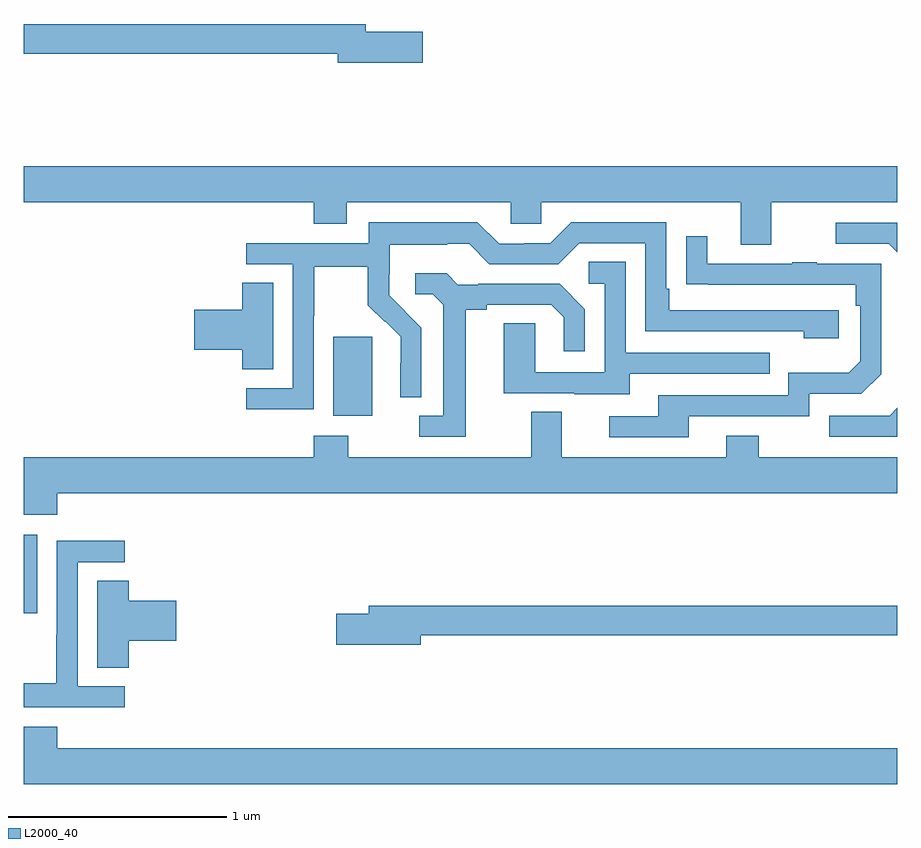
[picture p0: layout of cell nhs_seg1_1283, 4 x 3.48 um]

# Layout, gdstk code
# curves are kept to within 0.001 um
import gdstk
lib = gdstk.Library(unit=1e-6, precision=1e-09)
def R(c, l, rs):  # rectangles x0, y0, x1, y1
    for r in rs: c.add(gdstk.rectangle(r[:2], r[2:], *l))
def P(c, l, *ps):  # polygons
    for p in ps: c.add(gdstk.Polygon(p, *l))
L2000_40 = (2000, 40)

nhs_seg1_1283 = lib.new_cell('nhs_seg1_1283')
R(nhs_seg1_1283, L2000_40, [(181,523.209,181.063,523.57), (182.417,524.114,182.596,524.475)])
P(nhs_seg1_1283, L2000_40, [(182.827,525.872),(182.566,525.872),(182.566,525.908),(181,525.908),(181,525.772),(182.438,525.772),(182.438,525.73),(182.827,525.73)],
  [(184.423,525.092),(185,525.092),(185,525.256),(181,525.256),(181,525.092),(182.327,525.092),(182.327,524.993),(182.479,524.993),(182.479,525.092),(183.231,525.092),(183.231,524.994),(183.369,524.994),(183.369,525.092),(184.283,525.092),(184.283,524.898),(184.423,524.898)],
  [(182.328,524.572),(182.331,524.572),(182.331,524.796),(182.575,524.796),(182.575,524.621),(182.652,524.544),(182.655,524.547),(182.726,524.477),(182.726,524.354),(182.724,524.354),(182.724,524.2),(182.82,524.2),(182.82,524.518),(182.674,524.666),(182.674,524.763),(182.676,524.763),(182.676,524.897),(182.939,524.897),(182.939,524.901),(183.039,524.901),(183.132,524.808),(183.447,524.808),(183.543,524.904),(183.846,524.904),(183.846,524.502),(184.571,524.502),(184.571,524.468),(184.732,524.468),(184.732,524.598),(183.955,524.598),(183.955,524.695),(183.942,524.695),(183.942,525),(183.507,525),(183.411,524.904),(183.293,524.904),(183.293,524.901),(183.177,524.901),(183.077,525.001),(182.58,525.001),(182.58,524.904),(182.019,524.904),(182.019,524.808),(182.232,524.808),(182.232,524.241),(182.019,524.241),(182.019,524.143),(182.328,524.143)],
  [(185,524.997),(184.719,524.997),(184.719,524.901),(184.962,524.901),(185,524.863)],
  [(184.045,524.112),(184.596,524.112),(184.596,524.214),(184.836,524.214),(184.926,524.304),(184.926,524.811),(184.631,524.811),(184.631,524.816),(184.519,524.816),(184.519,524.811),(184.129,524.811),(184.129,524.935),(184.033,524.935),(184.033,524.716),(184.81,524.715),(184.81,524.618),(184.83,524.618),(184.83,524.364),(184.777,524.311),(184.5,524.311),(184.5,524.208),(183.905,524.208),(183.905,524.112),(183.681,524.112),(183.681,524.016),(184.045,524.016)],
  [(183.775,524.307),(184.415,524.307),(184.415,524.403),(183.756,524.403),(183.756,524.819),(183.588,524.819),(183.588,524.718),(183.66,524.718),(183.66,524.313),(183.342,524.313),(183.342,524.537),(183.197,524.537),(183.197,524.217),(183.521,524.217),(183.521,524.213),(183.775,524.213)],
  [(183.025,524.6),(183.121,524.6),(183.121,524.622),(183.416,524.622),(183.473,524.565),(183.473,524.409),(183.57,524.409),(183.57,524.602),(183.454,524.718),(183.082,524.718),(183.082,524.715),(182.988,524.715),(182.936,524.767),(182.793,524.767),(182.793,524.67),(182.874,524.67),(182.921,524.623),(182.921,524.115),(182.811,524.115),(182.811,524.019),(183.025,524.019)],
  [(182.143,524.723),(182,524.723),(182,524.6),(181.782,524.6),(181.782,524.417),(182,524.417),(182,524.326),(182.143,524.326)],
  [(185,524.15),(184.965,524.115),(184.689,524.115),(184.689,524.019),(185,524.019)],
  [(181.154,523.76),(185,523.76),(185,523.924),(184.365,523.924),(184.365,524.023),(184.217,524.023),(184.217,523.924),(183.463,523.924),(183.463,524.132),(183.323,524.132),(183.323,523.924),(182.487,523.924),(182.487,524.023),(182.327,524.023),(182.327,523.924),(181,523.924),(181,523.661),(181.154,523.661)],
  [(181.462,522.876),(181.248,522.876),(181.248,523.443),(181.462,523.443),(181.462,523.542),(181.152,523.542),(181.152,523.112),(181.15,523.112),(181.15,522.889),(181,522.889),(181,522.78),(181.462,522.78)],
  [(181.481,523.085),(181.699,523.085),(181.699,523.268),(181.481,523.268),(181.481,523.358),(181.337,523.358),(181.337,522.961),(181.481,522.961)],
  [(182.818,523.108),(185,523.108),(185,523.244),(182.579,523.244),(182.579,523.208),(182.43,523.208),(182.43,523.066),(182.818,523.066)],
  [(185,522.592),(181.154,522.592),(181.154,522.691),(181.001,522.691),(181.001,522.592),(181,522.592),(181,522.428),(185,522.428)])

lib.write_gds('nhs_seg1_1283.gds')
